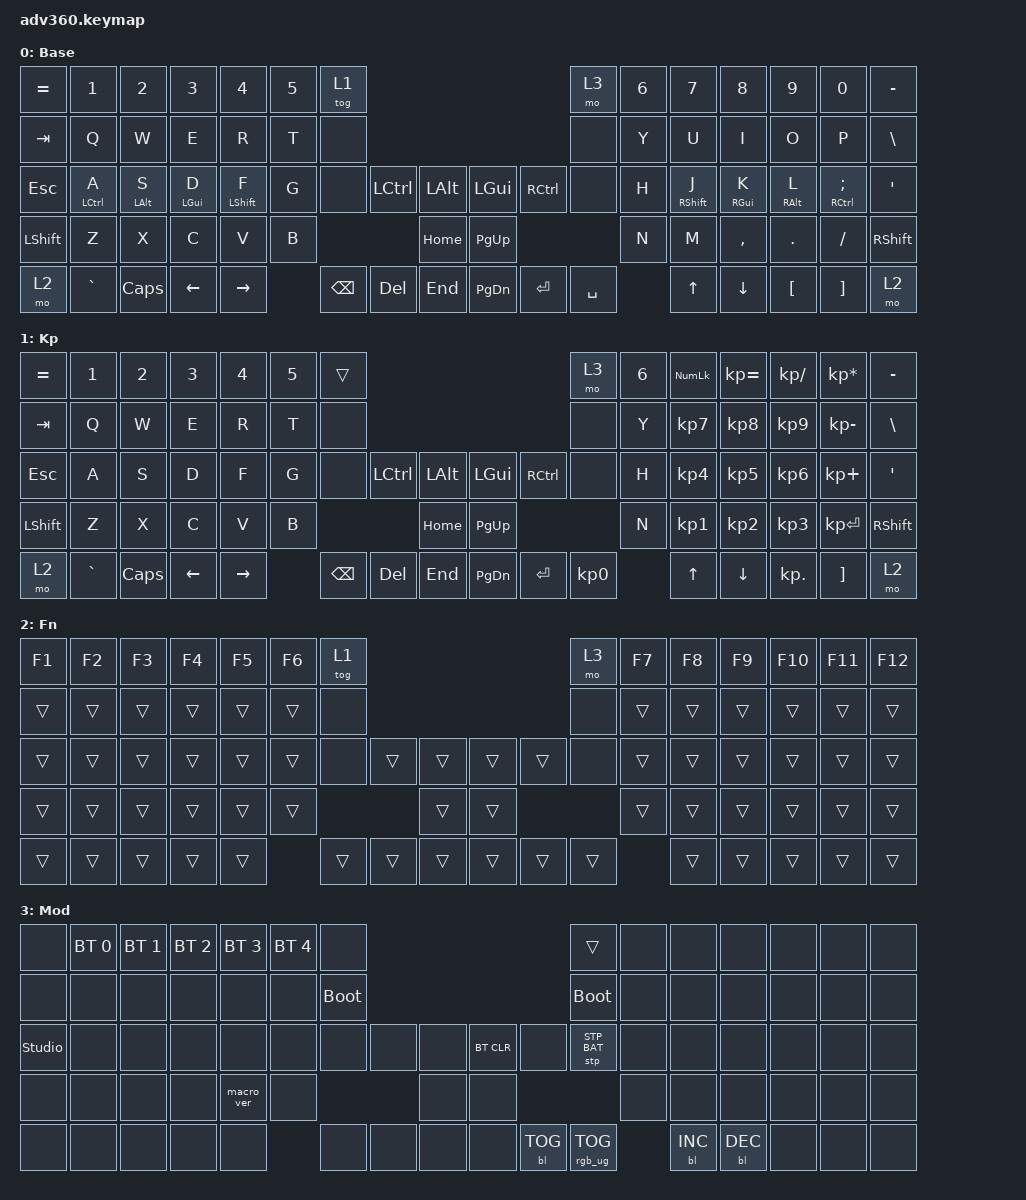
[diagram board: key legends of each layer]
#include <dt-bindings/zmk/stp.h>
#include <behaviors.dtsi>
#include <dt-bindings/zmk/backlight.h>
#include <dt-bindings/zmk/bt.h>
#include <dt-bindings/zmk/keys.h>
#include <dt-bindings/zmk/rgb.h>

/ {
    behaviors {
        #include "macros.dtsi"
      #include "version.dtsi"

        hm: homerow_mods {
            compatible = "zmk,behavior-hold-tap";
            label = "HOMEROW_MODS";
            #binding-cells = <2>;
            tapping-term-ms = <200>;
            flavor = "balanced";
            bindings = <&kp>, <&kp>;
        };

        hm_right: hm_right {
            compatible = "zmk,behavior-hold-tap";
            label = "HM_RIGHT";
            bindings = <&kp>, <&kp>;

            #binding-cells = <2>;
            hold-trigger-key-positions = <0 14 1 15 2 30 17 16 3 4 6 5 20 19 18 31 32 33 34 51 50 49 48 47 29 28 46 60 61 62 63 64 35 36 52 65 66 67 70>;
            tapping-term-ms = <200>;
            flavor = "balanced";
        };

        hm_left: hm_left {
            compatible = "zmk,behavior-hold-tap";
            label = "HM_LEFT";
            bindings = <&kp>, <&kp>;

            #binding-cells = <2>;
            tapping-term-ms = <200>;
            hold-trigger-key-positions = <8 9 10 11 12 13 22 23 24 25 26 27 40 41 42 43 44 45 54 55 56 57 58 59 70 71 72 73 74 75 37 38 53 68 69 7 21 39>;
            flavor = "balanced";
        };
    };

    combos {
        compatible = "zmk,combos";

        extra-enter {
            bindings = <&kp ENTER>;
            key-positions = <55 56>;
        };

        extra-space {
            bindings = <&kp SPACE>;
            key-positions = <50 49>;
        };
    };

    keymap {
        compatible = "zmk,keymap";

        default_layer {
            display-name = "Base";
            bindings = <
&kp EQUAL  &kp N1              &kp N2          &kp N3          &kp N4            &kp N5  &tog 1                                                   &mo 3      &kp N6  &kp N7             &kp N8           &kp N9           &kp N0                  &kp MINUS
&kp TAB    &kp Q               &kp W           &kp E           &kp R             &kp T   &none                                                    &none      &kp Y   &kp U              &kp I            &kp O            &kp P                   &kp BSLH
&kp ESC    &hm LEFT_CONTROL A  &hm LEFT_ALT S  &hm LEFT_GUI D  &hm LEFT_SHIFT F  &kp G   &none     &kp LCTRL  &kp LALT      &kp LGUI   &kp RCTRL  &none      &kp H   &hm RIGHT_SHIFT J  &hm RIGHT_GUI K  &hm RIGHT_ALT L  &hm RIGHT_CONTROL SEMI  &kp SQT
&kp LSHFT  &kp Z               &kp X           &kp C           &kp V             &kp B                        &kp HOME      &kp PG_UP                        &kp N   &kp M              &kp COMMA        &kp DOT          &kp FSLH                &kp RSHFT
&mo 2      &kp GRAVE           &kp CAPS        &kp LEFT        &kp RIGHT                 &kp BSPC  &kp DEL    &kp END       &kp PG_DN  &kp ENTER  &kp SPACE          &kp UP             &kp DOWN         &kp LBKT         &kp RBKT                &mo 2
            >;
        };

        keypad {
            display-name = "Kp";
            bindings = <
&kp EQUAL  &kp N1     &kp N2    &kp N3    &kp N4     &kp N5  &trans                                                   &mo 3      &kp N6  &kp KP_NUM  &kp KP_EQUAL  &kp KP_DIVIDE  &kp KP_MULTIPLY  &kp MINUS
&kp TAB    &kp Q      &kp W     &kp E     &kp R      &kp T   &none                                                    &none      &kp Y   &kp KP_N7   &kp KP_N8     &kp KP_N9      &kp KP_MINUS     &kp BSLH
&kp ESC    &kp A      &kp S     &kp D     &kp F      &kp G   &none     &kp LCTRL  &kp LALT      &kp LGUI   &kp RCTRL  &none      &kp H   &kp KP_N4   &kp KP_N5     &kp KP_N6      &kp KP_PLUS      &kp SQT
&kp LSHFT  &kp Z      &kp X     &kp C     &kp V      &kp B                        &kp HOME      &kp PG_UP                        &kp N   &kp KP_N1   &kp KP_N2     &kp KP_N3      &kp KP_ENTER     &kp RSHFT
&mo 2      &kp GRAVE  &kp CAPS  &kp LEFT  &kp RIGHT          &kp BSPC  &kp DEL    &kp END       &kp PG_DN  &kp ENTER  &kp KP_N0          &kp UP      &kp DOWN      &kp KP_DOT     &kp RBKT         &mo 2
            >;
        };

        fn {
            display-name = "Fn";
            bindings = <
&kp F1  &kp F2  &kp F3  &kp F4  &kp F5  &kp F6  &tog 1                                      &mo 3   &kp F7  &kp F8  &kp F9  &kp F10  &kp F11  &kp F12
&trans  &trans  &trans  &trans  &trans  &trans  &none                                       &none   &trans  &trans  &trans  &trans   &trans   &trans
&trans  &trans  &trans  &trans  &trans  &trans  &none   &trans  &trans      &trans  &trans  &none   &trans  &trans  &trans  &trans   &trans   &trans
&trans  &trans  &trans  &trans  &trans  &trans                  &trans      &trans                  &trans  &trans  &trans  &trans   &trans   &trans
&trans  &trans  &trans  &trans  &trans          &trans  &trans  &trans      &trans  &trans  &trans          &trans  &trans  &trans   &trans   &trans
            >;
        };

        mod {
            display-name = "Mod";
            bindings = <
&none           &bt BT_SEL 0  &bt BT_SEL 1  &bt BT_SEL 2  &bt BT_SEL 3  &bt BT_SEL 4  &none                                                  &trans           &none  &none       &none       &none  &none  &none
&none           &none         &none         &none         &none         &none         &bootloader                                            &bootloader      &none  &none       &none       &none  &none  &none
&studio_unlock  &none         &none         &none         &none         &none         &none        &none  &none      &bt BT_CLR  &none       &stp STP_BAT     &none  &none       &none       &none  &none  &none
&none           &none         &none         &none         &macro_ver    &none                             &none      &none                                    &none  &none       &none       &none  &none  &none
&none           &none         &none         &none         &none                       &none        &none  &none      &none       &bl BL_TOG  &rgb_ug RGB_TOG         &bl BL_INC  &bl BL_DEC  &none  &none  &none
            >;
        };

        extra1 {
            display-name = "Red";
            status = "reserved";
        };

        extra2 {
            display-name = "Purple";
            status = "reserved";
        };

        extra3 {
            display-name = "Cyan";
            status = "reserved";
        };

        extra4 {
            display-name = "Yellow";
            status = "reserved";
        };
    };
};
